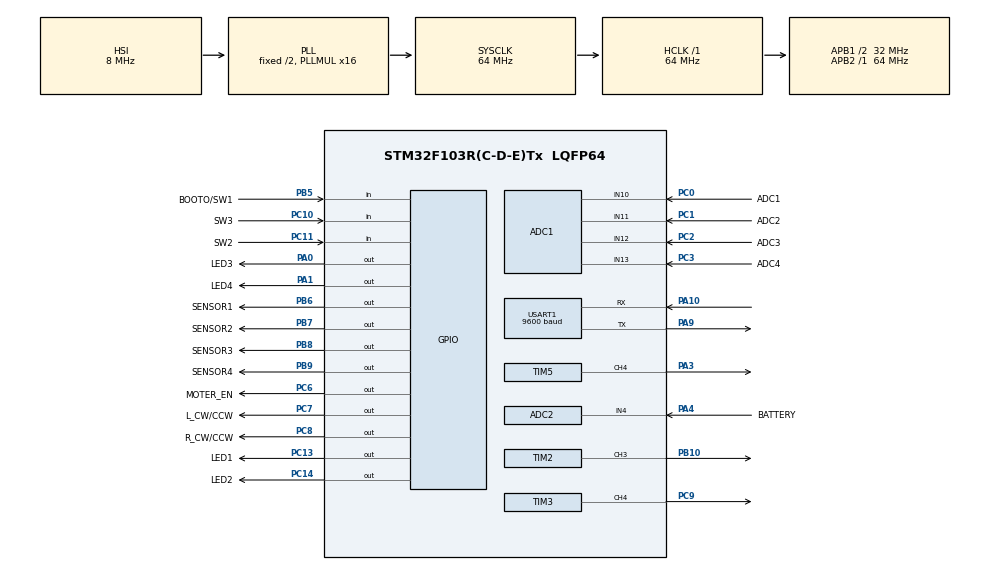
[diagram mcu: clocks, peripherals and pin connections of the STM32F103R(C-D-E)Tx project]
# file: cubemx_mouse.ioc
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ADC1.Channel-0\#ChannelRegularConversion=ADC_CHANNEL_10
ADC1.ContinuousConvMode=DISABLE
ADC1.DataAlign=ADC_DATAALIGN_RIGHT
ADC1.DiscontinuousConvMode=DISABLE
ADC1.EnableAnalogWatchDog=false
ADC1.EnableRegularConversion=ENABLE
ADC1.ExternalTrigConv=ADC_SOFTWARE_START
ADC1.InjNumberOfConversion=0
ADC1.NbrOfConversion=1
ADC1.NbrOfConversionFlag=1
ADC1.Rank-0\#ChannelRegularConversion=1
ADC1.SamplingTime-0\#ChannelRegularConversion=ADC_SAMPLETIME_71CYCLES_5
ADC1.ScanConvMode=ADC_SCAN_DISABLE
ADC1.master=1
ADC2.Channel-4\#ChannelRegularConversion=ADC_CHANNEL_4
ADC2.NbrOfConversionFlag=1
ADC2.Rank-4\#ChannelRegularConversion=1
ADC2.SamplingTime-4\#ChannelRegularConversion=ADC_SAMPLETIME_1CYCLE_5
Mcu.Family=STM32F1
Mcu.Name=STM32F103R(C-D-E)Tx
Mcu.Package=LQFP64
NVIC.PriorityGroup=NVIC_PRIORITYGROUP_4
NVIC.TIM2_IRQn=true\:0\:0\:true\:true\:true\:1\:true
NVIC.TIM3_IRQn=true\:0\:0\:true\:true\:true\:2\:true
PA0-WKUP.GPIO_Label=LED3
PA0-WKUP.Signal=GPIO_Output
PA1.GPIO_Label=LED4
PA1.Signal=GPIO_Output
PA10.Mode=Asynchronous
PA10.Signal=USART1_RX
PA3.Signal=S_TIM5_CH4
PA4.GPIO_Label=BATTERY
PA4.Signal=ADCx_IN4
PA9.Mode=Asynchronous
PA9.Signal=USART1_TX
PB10.Signal=S_TIM2_CH3
PB5.GPIO_Label=BOOTO/SW1
PB5.Signal=GPIO_Input
PB6.GPIO_Label=SENSOR1
PB6.Signal=GPIO_Output
PB7.GPIO_Label=SENSOR2
PB7.Signal=GPIO_Output
PB8.GPIO_Label=SENSOR3
PB8.Signal=GPIO_Output
PB9.GPIO_Label=SENSOR4
PB9.Signal=GPIO_Output
PC0.GPIO_Label=ADC1
PC0.Signal=ADCx_IN10
PC1.GPIO_Label=ADC2
PC1.Signal=ADCx_IN11
PC10.GPIO_Label=SW3
PC10.Signal=GPIO_Input
PC11.GPIO_Label=SW2
PC11.Signal=GPIO_Input
PC13-TAMPER-RTC.GPIO_Label=LED1
PC13-TAMPER-RTC.Signal=GPIO_Output
PC14-OSC32_IN.GPIO_Label=LED2
PC14-OSC32_IN.Signal=GPIO_Output
PC2.GPIO_Label=ADC3
PC2.Signal=ADCx_IN12
PC3.GPIO_Label=ADC4
PC3.Signal=ADCx_IN13
PC6.GPIO_Label=MOTER_EN
PC6.Signal=GPIO_Output
PC7.GPIO_Label=L_CW/CCW
PC7.Signal=GPIO_Output
PC8.GPIO_Label=R_CW/CCW
PC8.Signal=GPIO_Output
PC9.Signal=S_TIM3_CH4
ProjectManager.HeapSize=0x200
ProjectManager.StackSize=0x400
ProjectManager.TargetToolchain=TrueSTUDIO
RCC.ADCPresc=RCC_ADCPCLK2_DIV8
RCC.AHBFreq_Value=64000000
RCC.APB1CLKDivider=RCC_HCLK_DIV2
RCC.APB1Freq_Value=32000000
RCC.APB1TimFreq_Value=64000000
RCC.APB2Freq_Value=64000000
RCC.APB2TimFreq_Value=64000000
RCC.HCLKFreq_Value=64000000
RCC.PLLMUL=RCC_PLL_MUL16
RCC.SYSCLKFreq_VALUE=64000000
RCC.SYSCLKSource=RCC_SYSCLKSOURCE_PLLCLK
RCC.USBFreq_Value=64000000
SH.ADCx_IN10.0=ADC1_IN10,IN10
SH.ADCx_IN11.0=ADC1_IN11,IN11
SH.ADCx_IN12.0=ADC1_IN12,IN12
SH.ADCx_IN13.0=ADC1_IN13,IN13
SH.ADCx_IN4.0=ADC2_IN4,IN4
SH.S_TIM2_CH3.0=TIM2_CH3,PWM Generation3 CH3
SH.S_TIM3_CH4.0=TIM3_CH4,PWM Generation4 CH4
SH.S_TIM5_CH4.0=TIM5_CH4,PWM Generation4 CH4
TIM2.Channel-PWM\ Generation3\ CH3=TIM_CHANNEL_3
TIM2.Period=9
TIM2.Prescaler=6399
TIM3.Channel-PWM\ Generation4\ CH4=TIM_CHANNEL_4
TIM3.Period=9
TIM3.Prescaler=6399
TIM5.Channel-PWM\ Generation4\ CH4=TIM_CHANNEL_4
USART1.BaudRate=9600
USART1.VirtualMode=VM_ASYNC
VP_SYS_VS_ND.Mode=No_Debug
VP_TIM4_VS_ClockSourceINT.Mode=Internal
board=custom

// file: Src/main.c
/**
  ******************************************************************************
  * @file           : main.c
  * @brief          : Main program body
  ******************************************************************************
  ** This notice applies to any and all portions of this file
  * that are not between comment pairs USER CODE BEGIN and
  * USER CODE END. Other portions of this file, whether
  * inserted by the user or by software development tools
  * are owned by their respective copyright owners.
  *
  * COPYRIGHT(c) 2019 STMicroelectronics
  *
  * Redistribution and use in source and binary forms, with or without modification,
  * are permitted provided that the following conditions are met:
  *   1. Redistributions of source code must retain the above copyright notice,
  *      this list of conditions and the following disclaimer.
  *   2. Redistributions in binary form must reproduce the above copyright notice,
  *      this list of conditions and the following disclaimer in the documentation
  *      and/or other materials provided with the distribution.
  *   3. Neither the name of STMicroelectronics nor the names of its contributors
  *      may be used to endorse or promote products derived from this software
  *      without specific prior written permission.
  *
  * THIS SOFTWARE IS PROVIDED BY THE COPYRIGHT HOLDERS AND CONTRIBUTORS "AS IS"
  * AND ANY EXPRESS OR IMPLIED WARRANTIES, INCLUDING, BUT NOT LIMITED TO, THE
  * IMPLIED WARRANTIES OF MERCHANTABILITY AND FITNESS FOR A PARTICULAR PURPOSE ARE
  * DISCLAIMED. IN NO EVENT SHALL THE COPYRIGHT HOLDER OR CONTRIBUTORS BE LIABLE
  * FOR ANY DIRECT, INDIRECT, INCIDENTAL, SPECIAL, EXEMPLARY, OR CONSEQUENTIAL
  * DAMAGES (INCLUDING, BUT NOT LIMITED TO, PROCUREMENT OF SUBSTITUTE GOODS OR
  * SERVICES; LOSS OF USE, DATA, OR PROFITS; OR BUSINESS INTERRUPTION) HOWEVER
  * CAUSED AND ON ANY THEORY OF LIABILITY, WHETHER IN CONTRACT, STRICT LIABILITY,
  * OR TORT (INCLUDING NEGLIGENCE OR OTHERWISE) ARISING IN ANY WAY OUT OF THE USE
  * OF THIS SOFTWARE, EVEN IF ADVISED OF THE POSSIBILITY OF SUCH DAMAGE.
  *
  ******************************************************************************
  */
#include "main.h"
#include "stm32f1xx_hal.h"
#include "adc.h"
#include "tim.h"
#include "usart.h"
#include "gpio.h"

/* USER CODE BEGIN Includes */

#include "led.h"
#include "motion.h"
#include "mode.h"
#include "global.h"
#include "control.h"
#include <stdint.h>

/* USER CODE END Includes */

/* USER CODE BEGIN PV */

#ifdef __GNUC__
#define PUTCHAR_PROTOTYPE int __io_putchar(int ch)
#else
#define PUTCHAR_PROTOTYPE int fputc(int ch, FILE *f)
#endif /* __GNUC__ */
void __io__putchar(uint8_t ch){
	HAL_UART_Transmit(&huart1,&ch,1,1);
}

/* Private variables ---------------------------------------------------------*/

/* USER CODE END PV */

void SystemClock_Config(void);
static void MX_NVIC_Init(void);

/* USER CODE BEGIN PFP */
/* Private function prototypes -----------------------------------------------*/

/* USER CODE END PFP */

int main(void)
{

  /* MCU Configuration----------------------------------------------------------*/

  /* Reset of all peripherals, Initializes the Flash interface and the Systick. */
  HAL_Init();

  /* Configure the system clock */
  SystemClock_Config();

  /* Initialize all configured peripherals */
  MX_GPIO_Init();
  MX_ADC1_Init();
  MX_TIM2_Init();
  MX_TIM4_Init();
  MX_USART1_UART_Init();
  MX_TIM5_Init();
  MX_ADC2_Init();
  MX_TIM3_Init();

  /* Initialize interrupts */
  MX_NVIC_Init();
  /* USER CODE BEGIN 2 */

  HAL_TIM_Base_Start_IT(&htim2);
  HAL_TIM_Base_Start_IT(&htim3);
  setbuf(stdout, NULL);

  /* USER CODE END 2 */

  /* Infinite loop */
  while (1)
  {

  /* USER CODE BEGIN 3 */

	 MODE_RUN( MODE_SELECT() );
	 //printf("%d\r",moter.step_l);

  }
  /* USER CODE END 3 */

}

void SystemClock_Config(void)
{

  RCC_OscInitTypeDef RCC_OscInitStruct;
  RCC_ClkInitTypeDef RCC_ClkInitStruct;
  RCC_PeriphCLKInitTypeDef PeriphClkInit;

    /**Initializes the CPU, AHB and APB busses clocks
    */
  RCC_OscInitStruct.OscillatorType = RCC_OSCILLATORTYPE_HSI;
  RCC_OscInitStruct.HSIState = RCC_HSI_ON;
  RCC_OscInitStruct.HSICalibrationValue = 16;
  RCC_OscInitStruct.PLL.PLLState = RCC_PLL_ON;
  RCC_OscInitStruct.PLL.PLLSource = RCC_PLLSOURCE_HSI_DIV2;
  RCC_OscInitStruct.PLL.PLLMUL = RCC_PLL_MUL16;
  if (HAL_RCC_OscConfig(&RCC_OscInitStruct) != HAL_OK)
  {
    _Error_Handler(__FILE__, __LINE__);
  }

    /**Initializes the CPU, AHB and APB busses clocks
    */
  RCC_ClkInitStruct.ClockType = RCC_CLOCKTYPE_HCLK|RCC_CLOCKTYPE_SYSCLK
                              |RCC_CLOCKTYPE_PCLK1|RCC_CLOCKTYPE_PCLK2;
  RCC_ClkInitStruct.SYSCLKSource = RCC_SYSCLKSOURCE_PLLCLK;
  RCC_ClkInitStruct.AHBCLKDivider = RCC_SYSCLK_DIV1;
  RCC_ClkInitStruct.APB1CLKDivider = RCC_HCLK_DIV2;
  RCC_ClkInitStruct.APB2CLKDivider = RCC_HCLK_DIV1;

  if (HAL_RCC_ClockConfig(&RCC_ClkInitStruct, FLASH_LATENCY_2) != HAL_OK)
  {
    _Error_Handler(__FILE__, __LINE__);
  }

  PeriphClkInit.PeriphClockSelection = RCC_PERIPHCLK_ADC;
  PeriphClkInit.AdcClockSelection = RCC_ADCPCLK2_DIV8;
  if (HAL_RCCEx_PeriphCLKConfig(&PeriphClkInit) != HAL_OK)
  {
    _Error_Handler(__FILE__, __LINE__);
  }

    /**Configure the Systick interrupt time
    */
  HAL_SYSTICK_Config(HAL_RCC_GetHCLKFreq()/1000);

    /**Configure the Systick
    */
  HAL_SYSTICK_CLKSourceConfig(SYSTICK_CLKSOURCE_HCLK);

  /* SysTick_IRQn interrupt configuration */
  HAL_NVIC_SetPriority(SysTick_IRQn, 0, 0);
}

/**
  * @brief NVIC Configuration.
  * @retval None
  */
static void MX_NVIC_Init(void)
{
  /* TIM2_IRQn interrupt configuration */
  HAL_NVIC_SetPriority(TIM2_IRQn, 0, 0);
  HAL_NVIC_EnableIRQ(TIM2_IRQn);
  /* TIM3_IRQn interrupt configuration */
  HAL_NVIC_SetPriority(TIM3_IRQn, 0, 0);
  HAL_NVIC_EnableIRQ(TIM3_IRQn);
}

/* USER CODE BEGIN 4 */

/*void HAL_TIM_PeriodElapsedCallback(TIM_HandleTypeDef *htim)
{
	moter.step_l ++;
}*/

/* USER CODE END 4 */

void _Error_Handler(char *file, int line)
{
  while(1)
  {
  }
}

/************************ (C) COPYRIGHT STMicroelectronics *****END OF FILE****/
